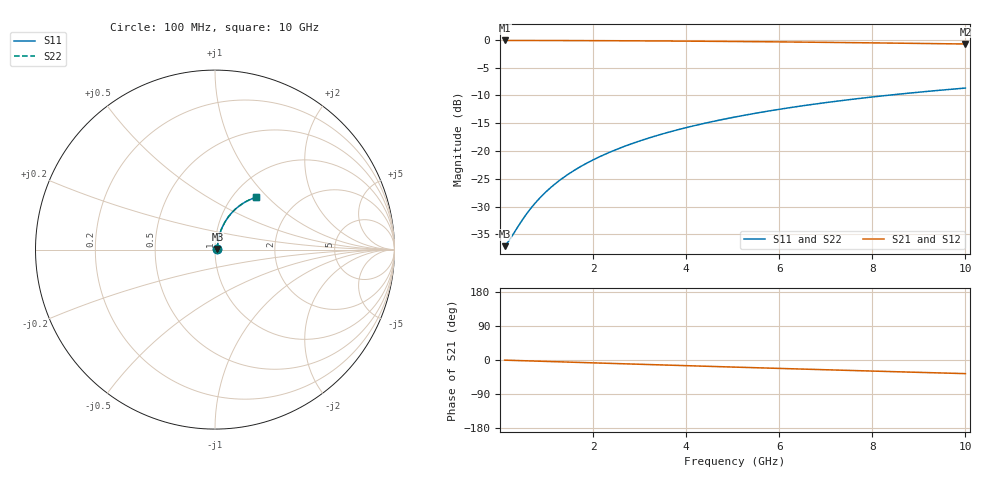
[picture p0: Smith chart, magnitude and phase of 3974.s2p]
# Hz S RI R 50.00
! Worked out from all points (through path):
!   100 points, 100 MHz to 10 GHz, reference 50 ohm
!   highest |S21| = -0.12 dB at 100 MHz (marker M1); lowest = -0.8 dB at 10 GHz (marker M2)
!   group delay of S21, straight-line fit = 10 ps
!   lowest |S11| = -37.1 dB at 100 MHz (marker M3), VSWR 1.03, Z = 51.4 + j0.415 ohm
!   |S11| at or under -10 dB: start of sweep to 8.313 GHz
!   |S22| runs from -37.1 to -8.7 dB; largest |S21 - S12| = 0
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1e8  0.0133 0.00404  0.9866 -0.00649  0.9866 -0.00649  0.0133 0.00404
2e8  0.0135 0.00807  0.9865 -0.013  0.9865 -0.013  0.0135 0.00807
4e8  0.0139 0.0161  0.986 -0.0259  0.986 -0.0259  0.0139 0.0161
5e8  0.0142 0.0201  0.9857 -0.0324  0.9857 -0.0324  0.0142 0.0201
6e8  0.0146 0.0242  0.9853 -0.0389  0.9853 -0.0389  0.0146 0.0242
7e8  0.0149 0.0282  0.9849 -0.0453  0.9849 -0.0453  0.0149 0.0282
9e8  0.0158 0.0362  0.9839 -0.0582  0.9839 -0.0582  0.0158 0.0362
1.1e9  0.017 0.0442  0.9827 -0.0711  0.9827 -0.0711  0.017 0.0442
1.3e9  0.0183 0.0521  0.9812 -0.084  0.9812 -0.084  0.0183 0.0521
1.5e9  0.0198 0.06  0.9795 -0.0968  0.9795 -0.0968  0.0198 0.06
1.8e9  0.0224 0.0717  0.9765 -0.1159  0.9765 -0.1159  0.0224 0.0717
2.1e9  0.0255 0.0834  0.9731 -0.1348  0.9731 -0.1348  0.0255 0.0834
2.5e9  0.0303 0.0986  0.9677 -0.1599  0.9677 -0.1599  0.0303 0.0986
2.9e9  0.0359 0.1135  0.9615 -0.1847  0.9615 -0.1847  0.0359 0.1135
3.4e9  0.044 0.1317  0.9525 -0.2151  0.9525 -0.2151  0.044 0.1317
4.2e9  0.0591 0.1593  0.9355 -0.2625  0.9355 -0.2625  0.0591 0.1593
5.1e9  0.0791 0.1881  0.9128 -0.3135  0.9128 -0.3135  0.0791 0.1881
5.9e9  0.0993 0.2113  0.8899 -0.3565  0.8899 -0.3565  0.0993 0.2113
6.7e9  0.1215 0.2321  0.8646 -0.3972  0.8646 -0.3972  0.1215 0.2321
7.5e9  0.1453 0.2504  0.8372 -0.4354  0.8372 -0.4354  0.1453 0.2504
8.4e9  0.1735 0.2678  0.8044 -0.4753  0.8044 -0.4753  0.1735 0.2678
1e10  0.2262 0.2903  0.7422 -0.5381  0.7422 -0.5381  0.2262 0.2903
